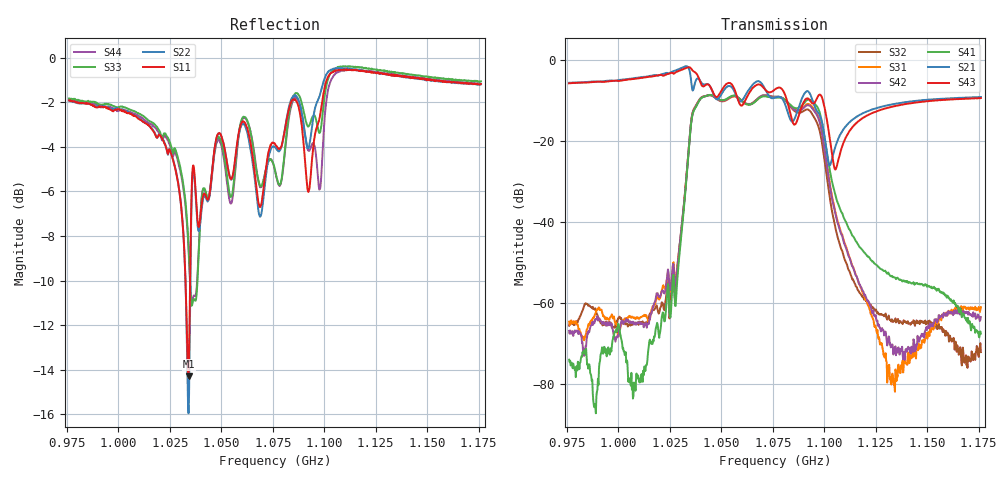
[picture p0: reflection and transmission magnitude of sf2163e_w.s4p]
# Hz S RI R 50
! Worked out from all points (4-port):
!   801 points, 976.1 MHz to 1.176 GHz, reference 50 ohm
!   strongest paths, dB at 976.1 MHz, 1.026 GHz, 1.076 GHz, 1.126 GHz, 1.176 GHz:
!     S43: -5.7, -3.0, -7.1, -12.4, -9.3
!     S21: -5.5, -2.8, -9.2, -11.7, -9.0
!     S41: -74.0, -56.9, -9.2, -51.0, -67.6
!     S42: -66.9, -53.0, -9.0, -65.4, -63.5
!     S31: -64.6, -52.9, -9.1, -68.0, -61.0
!     S32: -65.6, -54.5, -8.9, -62.3, -72.2
!   lowest |S11| = -14.3 dB at 1.034 GHz (marker M1), VSWR 1.48, Z = 39.1 - j13.6 ohm
!   |S11| at or under -10 dB: 1.03259 GHz to 1.034832 GHz (2.242 MHz wide, 0.217 % of centre)
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9.7606e8  -0.5289 -0.6028  0.3876 -0.3597  0.000569 -1.74e-05  0.00015 6.38e-05
          0.3887 -0.36  -0.509 -0.6183  0.000528 -5.88e-05  0.000427 1.85e-05
          0.000585 -5.63e-05  0.00052 -6.07e-05  -0.5084 -0.631  0.3866 -0.3514
          0.000178 8.72e-05  0.000451 2.97e-05  0.3858 -0.3507  -0.5311 -0.6047
1.01131e9  -0.5624 -0.4533  0.3691 -0.4971  0.00067 0.000102  0.000128 -6.75e-06
           0.3715 -0.5  -0.5524 -0.4674  0.000251 -0.000546  0.000512 0.00019
           0.000668 9.8e-05  0.000208 -0.000528  -0.557 -0.4926  0.373 -0.482
           0.000132 5.66e-06  0.000526 0.000162  0.3732 -0.4817  -0.5706 -0.462
1.02806e9  -0.4939 -0.2448  0.2781 -0.7048  0.00205 0.000518  -0.00106 -0.000443
           0.2772 -0.706  -0.493 -0.2521  -0.00127 -0.00111  0.00184 0.000764
           0.00206 0.000491  -0.00128 -0.00109  -0.5255 -0.3192  0.3114 -0.648
           -0.00109 -0.000458  0.00185 0.00079  0.3115 -0.6493  -0.5306 -0.291
1.03406e9  -0.0966 -0.1669  -0.1366 -0.7996  0.0729 -0.0169  -0.0695 0.0189
           -0.136 -0.7987  -0.082 -0.1366  -0.0755 0.013  0.0732 -0.0155
           0.0728 -0.0168  -0.0754 0.013  -0.3523 -0.141  0.1232 -0.8142
           -0.0693 0.019  0.0733 -0.0154  0.1224 -0.8146  -0.3481 -0.131
1.09356e9  -0.1384 -0.5389  -0.1621 -0.3235  0.2469 0.1255  -0.2957 -0.1267
           -0.1618 -0.3235  -0.1634 -0.6558  -0.1967 -0.1174  0.2383 0.1206
           0.2473 0.1258  -0.1975 -0.1171  -0.2557 -0.6744  -0.0428 -0.3036
           -0.2957 -0.1265  0.2386 0.12  -0.0429 -0.303  -0.2912 -0.5605
1.13306e9  -0.5876 -0.7018  0.2081 -0.195  2.2e-05 0.000117  0.00209 -0.000516
           0.2091 -0.1955  -0.5701 -0.7108  0.000509 -0.000402  -0.000146 0.000269
           -3.05e-07 0.000134  0.00047 -0.000375  -0.5664 -0.7359  0.2001 -0.1794
           0.00209 -0.000527  -0.000157 0.000265  0.2 -0.1791  -0.5769 -0.7145
1.17606e9  -0.65 -0.5829  0.2087 -0.2842  0.00085 -0.000218  0.000123 -0.000409
           0.21 -0.2839  -0.6334 -0.5979  0.000199 -0.000145  0.000659 -8.67e-05
           0.000867 -0.000191  0.000211 -0.000128  -0.6338 -0.618  0.2063 -0.2727
           8.21e-05 -0.000409  0.000667 -5.97e-05  0.206 -0.2741  -0.6496 -0.5848
